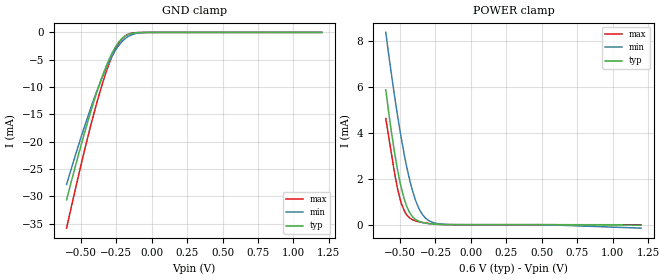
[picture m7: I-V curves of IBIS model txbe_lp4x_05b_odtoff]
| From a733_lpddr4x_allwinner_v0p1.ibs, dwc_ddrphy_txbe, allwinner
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[Model] txbe_lp4x_05b_odtoff
Model_type   Input
Polarity   Non-Inverting
Enable   Active-High
C_comp   950.513fF   939.903fF   967.222fF
C_comp_pullup   282.938fF   275.939fF   284.693fF
C_comp_pulldown 543.194fF   541.127fF   560.055fF
Vinh = 360.000mV
Vinl = 307.000mV
[Model Spec]
D_overshoot_ampl_h 0.1 NA   NA
D_overshoot_ampl_l 0.1 NA   NA
D_overshoot_area_l 300.000m NA   NA
D_overshoot_area_h 300.000m NA   NA
[Receiver Thresholds]
Vth = 163.000mV
Vth_min = 143.000mV
Vth_max = 150.000mV
Vinh_ac = 60.000mV
Vinh_dc = 60.000mV
Vinl_ac = -60.000mV
Vinl_dc = -60.000mV
Tslew_ac = 5.000ns
Threshold_sensitivity = 0.5
Reference_supply Power_clamp_ref
[Temperature Range]   25.000   125.000   -40.000
[Voltage Range]   600.000mV   570.000mV   650.000mV
[GND Clamp Reference]   0.00V   0.00V   0.00V
[C Comp Corner]
| variable   typ   min   max
C_comp 950.513fF   967.222fF   939.903fF
C_comp_pullup 282.938fF   284.693fF   275.939fF
C_comp_pulldown 543.194fF   560.055fF   541.127fF
[POWER Clamp Reference]   600.000mV   570.000mV   650.000mV
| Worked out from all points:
|   GND clamp passes 1 mA (typ) near -0.20 V on its own axis
|   POWER clamp passes 1 mA (typ) near -0.46 V on its own axis
[GND Clamp]
-600mV    -30.61mA   -27.8mA    -35.78mA
-520mV    -22.73mA   -20.97mA   -26.64mA
-450mV    -16.28mA   -15.37mA   -19.1mA
-390mV    -11.21mA   -10.96mA   -13.16mA
-350mV    -8.181mA   -8.298mA   -9.582mA
-300mV    -4.923mA   -5.382mA   -5.708mA
-260mV    -2.864mA   -3.463mA   -3.244mA
-230mV    -1.706mA   -2.312mA   -1.856mA
-190mV    -705.6uA   -1.194mA   -684.3uA
-130mV    -123.8uA   -327.5uA   -84.42uA
-40mV     -3.823uA   -18.15uA   -1.471uA
1.2V      1.202uA    9.468uA    355.6nA
[Power Clamp]
-600mV    5.867mA    8.37mA     4.619mA
-560mV    4.027mA    6.539mA    3.087mA
-520mV    2.489mA    4.867mA    1.655mA
-500mV    1.861mA    4.102mA    1.131mA
-470mV    1.12mA     3.062mA    608.9uA
-430mV    508.3uA    1.908mA    287uA
-390mV    225.6uA    1.059mA    165.6uA
-340mV    92.46uA    430uA      93.34uA
-300mV    48.11uA    190.2uA    55.9uA
-170mV    2.644uA    10.51uA    3.018uA
530mV     -286.1nA   -4.802uA   -57.47nA
1.2V      -18.54uA   -150.4uA   -4.334uA
